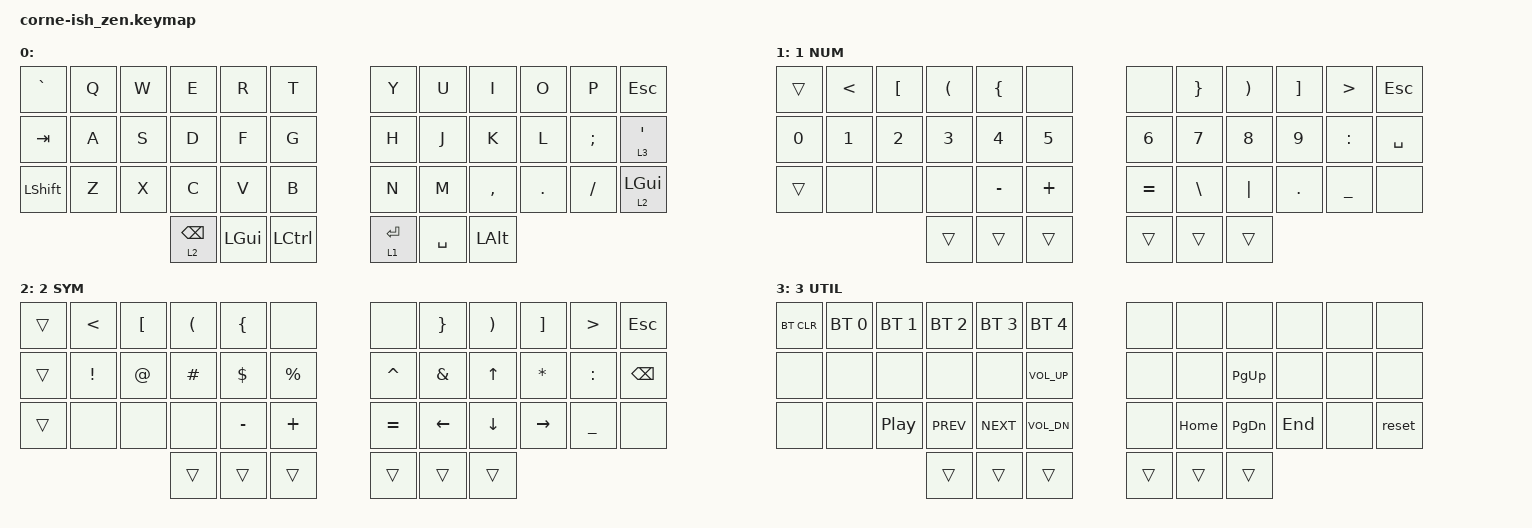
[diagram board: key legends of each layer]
/*
*
* Copyright (c) 2021 Darryl deHaan
*               2021 daiyi
* SPDX-License-Identifier: MIT
*
*/

#include <behaviors.dtsi>
#include <dt-bindings/zmk/keys.h>
#include <dt-bindings/zmk/bt.h>

/ {
  chosen {
    zmk,matrix_transform = &default_transform;
    //zmk,matrix_transform = &five_column_transform;
  };
};

/ {
        keymap {
                compatible = "zmk,keymap";

                default_layer {
                        label = "           ";
//                                    -------------------------------------     ------------------------------------------
//                                   | `~   |  Q  |  W  |  E   |  R  |  T  |   |  Y     |  U   |  I  |  O  |  P  | ESC    |
//                                   |  TAB |  A  |  S  |  D   |  F  |  G  |   |  H     |  J   |  K  |  L  |  ;  | L3 '   |
//                                   | SHFT |  Z  |  X  |  C   |  V  |  B  |   |  N     |  M   |  ,  |  .  |  /  | L2/GUI |
//                                    ------------- | L2/BKSP | GUI | CTRL |   | L1/ENT | SPC  | ALT |--------------------
//                                                   ----------------------     ---------------------
                        bindings = <
//|----------+--------+----------+----------+----------+----------|                    |-----------+---------+---------+---------+---------+---------|
   &kp GRAVE   &kp Q     &kp W      &kp E      &kp R       &kp T                           &kp Y      &kp U     &kp I     &kp O    &kp P     &kp ESC 
//|----------|--------|----------|----------|----------|----------|                    |-----------|---------|---------|---------|---------|---------|
   &kp TAB     &kp A     &kp S      &kp D      &kp F       &kp G                           &kp H      &kp J     &kp K     &kp L   &kp SEMI  &lt 3 SQT
//|----------|--------|----------|----------|----------|----------|                    |-----------|---------|---------|---------|---------|---------|
   &kp LSHFT   &kp Z     &kp X      &kp C      &kp V       &kp B                           &kp N      &kp M   &kp COMMA  &kp DOT  &kp FSLH  &lt 2 LGUI
//+----------+--------+----------+----------+----------|----------|---------| |--------|-----------|---------+---------+---------+---------+---------+
                                            &lt 2 BSPC   &kp LGUI  &kp LCTRL  &lt 1 RET  &kp SPACE   &kp LALT
//                                          `----------+----------+---------' `--------+-----------+---------'
                        >;
                };
                
                lower_layer {
                        label = "1 NUM";
//                                     ------------------------------------     -----------------------------------
//                                    | `~   |  <  |  [  |  (  |  {  |     |   |     |  }  |  )  |  ]  |  >  | esc |
//                                    |  0   |  1  |  2  |  3  |  4  |  5  |   |  6  |  7  |  8  |  9  |  :  | spc |
//                                    | SHFT |     |     |     |  -  |  +  |   |  =  |  \  |  |  |  .  |  _  |     |
//                                     ------------------|  ▽  |  ▽  |  ▽  |   |  ▽ |  ▽  |  ▽  |------------------
//                                                        -----------------     -----------------
                        bindings = <
//|----------+--------+----------+----------+----------+----------|                    |-----------+---------+---------+---------+---------+---------|
     &trans    &kp LT   &kp LBKT   &kp LPAR   &kp LBRC    &none                            &none    &kp RBRC  &kp RPAR  &kp RBKT   &kp GT   &kp ESC 
//|----------|--------|----------|----------|----------|----------|                    |-----------|---------|---------|---------|---------|---------|
     &kp N0    &kp N1    &kp N2     &kp N3     &kp N4     &kp N5                          &kp N6     &kp N7    &kp N8    &kp N9   &kp COLON &kp SPACE
//|----------|--------|----------|----------|----------|----------|                    |-----------|---------|---------|---------|---------|---------|
     &trans    &none     &none      &none     &kp MINUS  &kp PLUS                        &kp EQUAL  &kp BSLH  &kp PIPE  &kp DOT   &kp UNDER  &none
//+----------+--------+----------+----------+----------|----------|---------| |--------|-----------|---------+---------+---------+---------+---------+
                                               &trans     &trans    &trans      &trans   &trans      &trans
//                                          `----------+----------+---------' `--------+-----------+---------'
                        >;
                };

                raise_layer {
                        label = "2 SYM";
//                                     ------------------------------------     -----------------------------------
//                                    | `~   |  <  |  [  |  (  |  {  |     |   |     |  }  |  )  |  ]  |  >  | esc |
//                                    | tab  |  !  |  @  |  #  |  $  |  %  |   |  ^  |  &  |  ↑  |  *  |  :  | bck |
//                                    | SHFT |     |     |     |  -  |  +  |   |  =  |  ←  |  ↓  |  →  |  _  |     |
//                                     ------------------|  ▽  |  ▽  |  ▽  |   |  ▽ |  ▽  |  ▽  |------------------
//                                                        -----------------     -----------------

                        bindings = <
//|----------+--------+----------+----------+----------+----------|                    |-----------+---------+---------+---------+---------+---------|
     &trans    &kp LT   &kp LBKT   &kp LPAR   &kp LBRC   &none                            &none     &kp RBRC  &kp RPAR  &kp RBKT   &kp GT   &kp ESC 
//|----------|--------|----------|----------|----------|----------|                    |-----------|---------|---------|---------|---------|---------|
     &trans   &kp EXCL   &kp AT    &kp HASH   &kp DLLR   &kp PRCNT                      &kp CARET   &kp AMPS   &kp UP    &kp STAR &kp COLON  &kp BSPC
//|----------|--------|----------|----------|----------|----------|                    |-----------|---------|---------|---------|---------|---------|
     &trans    &none    &none      &none     &kp MINUS  &kp PLUS                        &kp EQUAL  &kp LEFT  &kp DOWN  &kp RIGHT &kp UNDER   &none
//+----------+--------+----------+----------+----------|----------|---------| |--------|-----------|---------+---------+---------+---------+---------+
                                               &trans     &trans    &trans      &trans   &trans      &trans
//                                          `----------+----------+---------' `--------+-----------+---------'
                        >;
                };
                
                util_layer {
                        label = "3 UTIL";
//                                    -------------------------------------     --------------------------------------
//                                   | BTCLR | BT1 | BT2 | BT3 | BT4 | BT5 |   |     |     |     |     |     |        |
//                                   |       |     |     |     |     | 🔊  |   |     |     | pg↑ |     |     |        |
//                                   |       |     |  ↦  |  «  |  »  | 🔈  |   |     | top | pg↓ | end |     | RESET* | *DO NOT REMOVE. left side crashes without `&RESET`
//                                     ------------------|  ▽  |  ▽  |  ▽  |   |  ▽ |  ▽  |  ▽  |--------------------
//                                                        -----------------     -----------------
                        bindings = <
//|----------+--------+----------+----------+----------+----------|                    |-----------+---------+---------+---------+---------+---------|
   &bt BT_CLR &bt BT_SEL 0 &bt BT_SEL 1 &bt BT_SEL 2 &bt BT_SEL 3 &bt BT_SEL 4            &none      &none     &none      &none      &none    &none
//|----------|--------|----------|----------|----------|----------|                    |-----------|---------|---------|---------|---------|---------|
    &none      &none     &none      &none      &none    &kp C_VOL_UP                           &none      &none    &kp PG_UP   &none      &none    &none
//|----------|--------|----------|----------|----------|----------|                    |-----------|---------|---------|---------|---------|---------|
    &none      &none   &kp C_PP  &kp C_PREV  &kp C_NEXT &kp C_VOL_DN                         &none     &kp HOME  &kp PG_DN  &kp END     &none    &reset
//+----------+--------+----------+----------+----------|----------|---------| |--------|-----------|---------+---------+---------+---------+---------+
                                               &trans     &trans    &trans      &trans   &trans      &trans
//                                          `----------+----------+---------' `--------+-----------+---------'
                        >;
                };
        };
};
